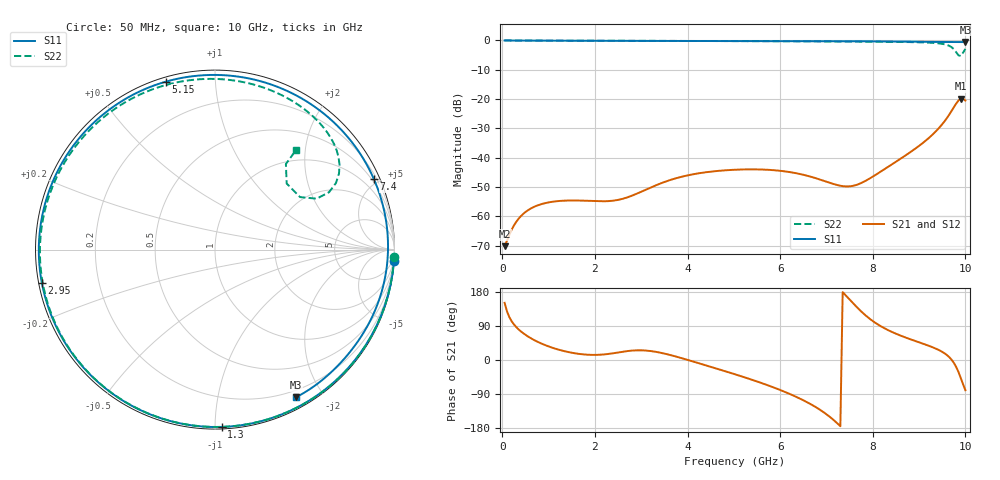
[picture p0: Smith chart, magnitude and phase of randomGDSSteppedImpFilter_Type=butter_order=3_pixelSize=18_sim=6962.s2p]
! freq	dB(S11)	phase(S11)	dB(S12)	phase(S12)
!  dB(S21)	phase(S21)	dB(S22)	phase(S22)
!S-par simulation data
#  GHz  S  DB  R 50
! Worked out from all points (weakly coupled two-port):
!   200 points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, 50 MHz to 10 GHz, reference 50 ohm
!   highest |S21| = -19.88 dB at 9.9 GHz (marker M1); lowest = -70.2 dB at 50 MHz (marker M2)
!   lowest |S11| = -0.6 dB at 10 GHz (marker M3), VSWR 31.36, Z = 6.12 - j84.1 ohm
!   |S11| at or under -10 dB: nowhere
!   |S22| runs from -5.3 to 0.0 dB; largest |S21 - S12| = 0
!   S11 on the Smith chart (normalised r, x): 50 MHz: 0, -31; 1.3 GHz: 0.01, -1.04; 2.95 GHz: 0.01, -0.10; 5.15 GHz: 0.02, +0.75; 7.4 GHz: 0.37, +4.69; 10 GHz: 0.12, -1.68
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0.05  -0.00 -3.7  -70.19 150.9  -70.19 150.9  -0.01 -2.3
0.25  -0.03 -18.2  -63.16 94.1  -63.16 94.1  -0.03 -11.2
0.5  -0.05 -35.9  -58.55 66.5  -58.55 66.5  -0.03 -22.3
0.9  -0.08 -62.9  -55.60 40.6  -55.60 40.6  -0.05 -39.7
1.3  -0.10 -87.8  -54.70 24.5  -54.70 24.5  -0.07 -56.5
1.75  -0.12 -113.0  -54.67 14.8  -54.67 14.8  -0.09 -74.4
2.35  -0.14 -142.7  -54.75 17.0  -54.75 17.0  -0.11 -96.7
2.95  -0.15 -169.1  -51.97 25.6  -51.97 25.6  -0.13 -117.3
3.4  -0.16 172.6  -48.89 19.6  -48.89 19.6  -0.14 -131.8
4.15  -0.18 143.6  -45.57 -5.1  -45.57 -5.1  -0.17 -154.5
5.05  -0.22 110.0  -44.09 -38.6  -44.09 -38.6  -0.22 179.6
5.15  -0.22 106.3  -44.04 -42.5  -44.04 -42.5  -0.22 176.8
5.9  -0.25 78.6  -44.32 -74.3  -44.32 -74.3  -0.26 155.6
6.7  -0.26 49.2  -46.67 -119.4  -46.67 -119.4  -0.32 132.7
7.4  -0.28 23.9  -49.79 172.7  -49.79 172.7  -0.37 111.8
7.75  -0.29 11.6  -48.65 128.2  -48.65 128.2  -0.40 101.0
8.35  -0.35 -9.1  -42.93 77.7  -42.93 77.7  -0.47 81.9
9.05  -0.48 -32.3  -35.36 44.5  -35.36 44.5  -0.65 57.8
9.55  -0.53 -48.2  -27.57 17.6  -27.57 17.6  -1.31 36.9
9.8  -0.54 -55.7  -21.56 -18.0  -21.56 -18.0  -3.96 26.6
9.9  -0.54 -58.5  -19.88 -47.5  -19.88 -47.5  -5.30 42.7
10  -0.55 -61.3  -20.52 -79.7  -20.52 -79.7  -2.87 50.9
